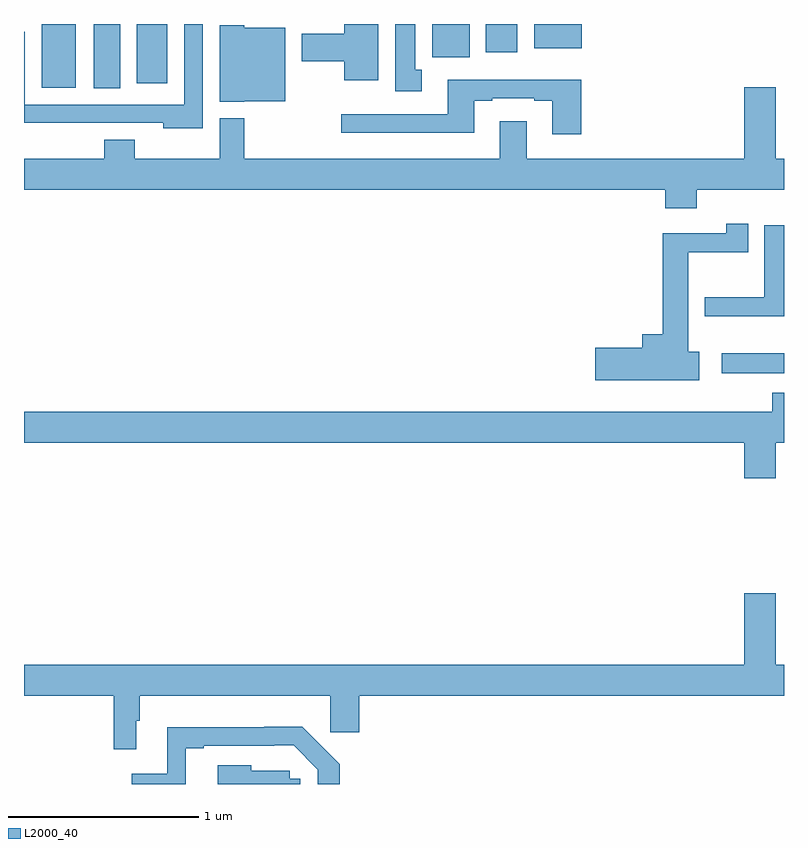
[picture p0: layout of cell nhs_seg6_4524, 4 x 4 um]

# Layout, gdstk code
import gdstk
lib = gdstk.Library(unit=1e-6, precision=1e-09)
def R(c, l, rs):  # rectangles x0, y0, x1, y1
    for r in rs: c.add(gdstk.rectangle(r[:2], r[2:], *l))
def P(c, l, *ps):  # polygons
    for p in ps: c.add(gdstk.Polygon(p, *l))
L2000_40 = (2000, 40)

nhs_seg6_4524 = lib.new_cell('nhs_seg6_4524')
R(nhs_seg6_4524, L2000_40, [(380.673,987.662,381,987.766), (377.366,989.161,377.506,989.5), (377.093,989.165,377.272,989.5), (377.594,989.187,377.755,989.5), (379.148,989.324,379.345,989.5), (379.43,989.352,379.597,989.5), (379.685,989.372,379.936,989.5)])
P(nhs_seg6_4524, L2000_40, [(379.093,989.258),(379.06,989.258),(379.06,989.5),(378.953,989.5),(378.953,989.145),(379.093,989.145)],
  [(378.865,989.5),(378.686,989.5),(378.686,989.45),(378.461,989.45),(378.461,989.303),(378.686,989.303),(378.686,989.204),(378.865,989.204)],
  [(377.94,989.5),(377.844,989.5),(377.844,989.076),(377.005,989.076),(377.005,989.459),(377,989.459),(377,988.979),(377.339,988.979),(377.339,988.98),(377.733,988.98),(377.733,988.952),(377.94,988.952)],
  [(378.159,989.093),(378.376,989.093),(378.376,989.479),(378.159,989.479),(378.159,989.494),(378.029,989.494),(378.029,989.09),(378.159,989.09)],
  [(379.934,989.206),(379.229,989.206),(379.229,989.025),(378.669,989.025),(378.669,988.928),(379.369,988.928),(379.369,989.097),(379.465,989.097),(379.465,989.109),(379.685,989.109),(379.685,989.097),(379.781,989.097),(379.781,988.92),(379.934,988.92)],
  [(379.505,988.987),(379.505,988.792),(378.158,988.792),(378.158,989.005),(378.029,989.005),(378.029,988.792),(377.583,988.792),(377.583,988.891),(377.423,988.891),(377.423,988.792),(377,988.792),(377,988.628),(380.375,988.628),(380.375,988.529),(380.54,988.529),(380.54,988.628),(381,988.628),(381,988.792),(380.956,988.792),(380.956,989.167),(380.792,989.167),(380.792,988.792),(379.645,988.792),(379.645,988.987)],
  [(380.554,987.776),(380.497,987.776),(380.497,988.3),(380.812,988.3),(380.812,988.45),(380.695,988.45),(380.695,988.399),(380.363,988.399),(380.363,987.868),(380.255,987.868),(380.255,987.797),(380.007,987.797),(380.007,987.626),(380.554,987.626)],
  [(381,988.442),(380.897,988.442),(380.897,988.062),(380.582,988.062),(380.582,987.962),(381,987.962)],
  [(380.956,987.296),(381,987.296),(381,987.559),(380.939,987.559),(380.939,987.46),(377,987.46),(377,987.296),(380.792,987.296),(380.792,987.108),(380.956,987.108)],
  [(377.59,985.832),(377.609,985.832),(377.609,985.964),(378.613,985.964),(378.613,985.773),(378.764,985.773),(378.764,985.964),(381,985.964),(381,986.128),(380.956,986.128),(380.956,986.503),(380.792,986.503),(380.792,986.128),(377,986.128),(377,985.964),(377.473,985.964),(377.473,985.683),(377.59,985.683)],
  [(377.851,985.689),(377.947,985.689),(377.947,985.701),(378.317,985.701),(378.317,985.703),(378.419,985.703),(378.546,985.575),(378.546,985.5),(378.662,985.5),(378.662,985.603),(378.464,985.801),(378.265,985.801),(378.265,985.798),(377.753,985.798),(377.753,985.554),(377.566,985.554),(377.566,985.5),(377.851,985.5)],
  [(378.453,985.527),(378.399,985.527),(378.399,985.57),(378.196,985.57),(378.196,985.6),(378.02,985.6),(378.02,985.5),(378.453,985.5)])

lib.write_gds('nhs_seg6_4524.gds')
